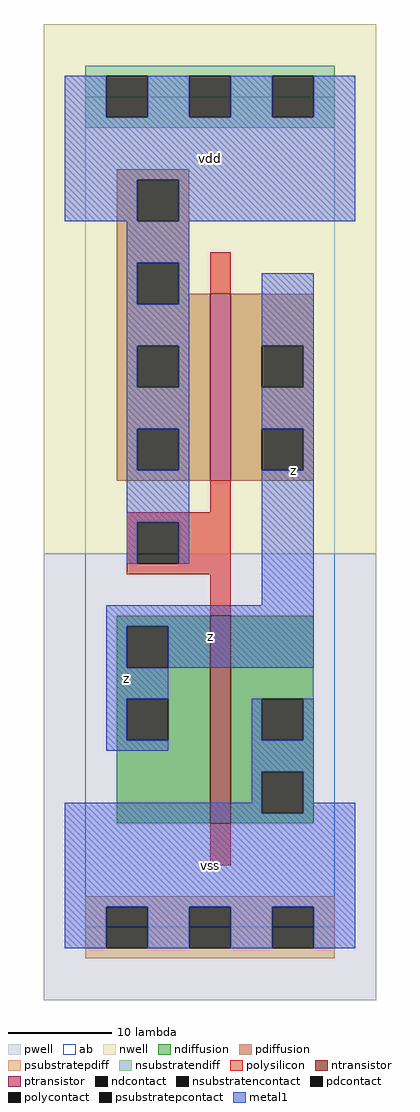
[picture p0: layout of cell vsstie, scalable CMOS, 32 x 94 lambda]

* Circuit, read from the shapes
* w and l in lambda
.subckt vsstie vdd vss z
M1 vss vdd z vss nfet w=20 l=2
M2 z vdd vdd vdd pfet w=18 l=2
.ends

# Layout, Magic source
magic
tech scmos
<< ab >>
rect 0 0 24 80
<< pwell >>
rect -4 -7 28 36
<< nwell >>
rect -4 36 28 87
<< polysilicon >>
rect 12 61 14 65
rect 12 40 14 43
rect 4 39 14 40
rect 4 35 5 39
rect 9 35 14 39
rect 4 34 14 35
rect 12 30 14 34
rect 12 6 14 10
<< ndiffusion >>
rect 3 29 12 30
rect 3 25 4 29
rect 8 25 12 29
rect 3 22 12 25
rect 3 18 4 22
rect 8 18 12 22
rect 3 10 12 18
rect 14 22 22 30
rect 14 18 17 22
rect 21 18 22 22
rect 14 15 22 18
rect 14 11 17 15
rect 21 11 22 15
rect 14 10 22 11
<< pdiffusion >>
rect 3 72 10 73
rect 3 68 5 72
rect 9 68 10 72
rect 3 64 10 68
rect 3 60 5 64
rect 9 61 10 64
rect 9 60 12 61
rect 3 56 12 60
rect 3 52 5 56
rect 9 52 12 56
rect 3 48 12 52
rect 3 44 5 48
rect 9 44 12 48
rect 3 43 12 44
rect 14 56 22 61
rect 14 52 17 56
rect 21 52 22 56
rect 14 48 22 52
rect 14 44 17 48
rect 21 44 22 48
rect 14 43 22 44
<< metal1 >>
rect -2 78 2 82
rect 6 78 10 82
rect 14 78 18 82
rect 22 78 26 82
rect -2 72 26 78
rect -2 68 5 72
rect 9 68 26 72
rect 4 64 10 68
rect 4 60 5 64
rect 9 60 10 64
rect 4 56 10 60
rect 4 52 5 56
rect 9 52 10 56
rect 4 48 10 52
rect 4 44 5 48
rect 9 44 10 48
rect 4 39 10 44
rect 4 35 5 39
rect 9 35 10 39
rect 17 56 22 63
rect 21 52 22 56
rect 17 48 22 52
rect 21 44 22 48
rect 17 31 22 44
rect 2 29 22 31
rect 2 25 4 29
rect 8 25 22 29
rect 2 22 8 25
rect 2 18 4 22
rect 2 17 8 18
rect 16 18 17 22
rect 21 18 22 22
rect 16 15 22 18
rect 16 12 17 15
rect -2 11 17 12
rect 21 12 22 15
rect 21 11 26 12
rect -2 2 26 11
rect -2 -2 2 2
rect 6 -2 10 2
rect 14 -2 18 2
rect 22 -2 26 2
<< ntransistor >>
rect 12 10 14 30
<< ptransistor >>
rect 12 43 14 61
<< polycontact >>
rect 5 35 9 39
<< ndcontact >>
rect 4 25 8 29
rect 4 18 8 22
rect 17 18 21 22
rect 17 11 21 15
<< pdcontact >>
rect 5 68 9 72
rect 5 60 9 64
rect 5 52 9 56
rect 5 44 9 48
rect 17 52 21 56
rect 17 44 21 48
<< psubstratepcontact >>
rect 2 -2 6 2
rect 10 -2 14 2
rect 18 -2 22 2
<< nsubstratencontact >>
rect 2 78 6 82
rect 10 78 14 82
rect 18 78 22 82
<< psubstratepdiff >>
rect 0 2 24 3
rect 0 -2 2 2
rect 6 -2 10 2
rect 14 -2 18 2
rect 22 -2 24 2
rect 0 -3 24 -2
<< nsubstratendiff >>
rect 0 82 24 83
rect 0 78 2 82
rect 6 78 10 82
rect 14 78 18 82
rect 22 78 24 82
rect 0 77 24 78
<< labels >>
rlabel metal1 4 24 4 24 6 z
rlabel metal1 12 6 12 6 6 vss
rlabel metal1 12 28 12 28 6 z
rlabel metal1 12 74 12 74 6 vdd
rlabel metal1 20 44 20 44 6 z
<< end >>
